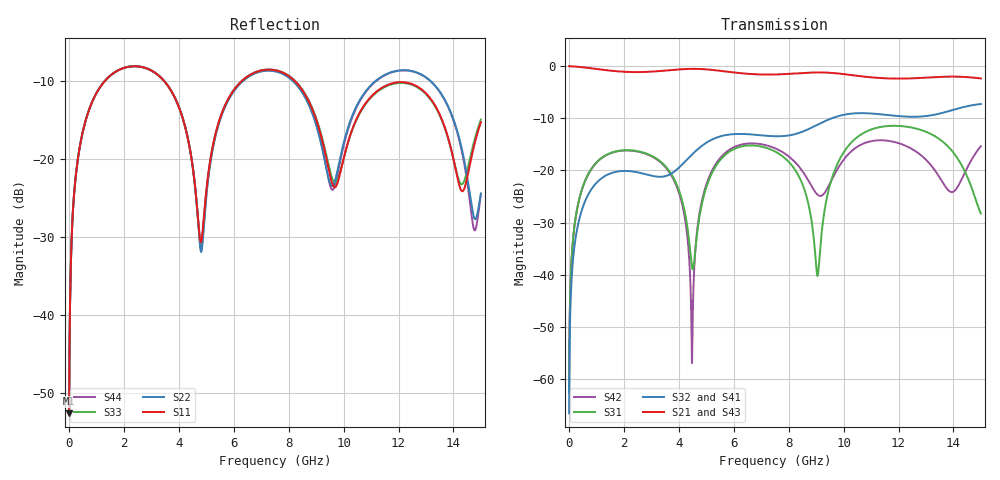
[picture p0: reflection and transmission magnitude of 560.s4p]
! Created with skrf 1.8.0 (http://scikit-rf.org).
# GHz S RI R 50.0
!freq ReS11 ImS11 ReS12 ImS12 ReS13 ImS13
! ReS14 ImS14
! ReS21 ImS21 ReS22 ImS22 ReS23 ImS23
! ReS24 ImS24
! ReS31 ImS31 ReS32 ImS32 ReS33 ImS33
! ReS34 ImS34
! ReS41 ImS41 ReS42 ImS42 ReS43 ImS43
! ReS44 ImS44
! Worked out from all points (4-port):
!   2499 points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, 5 MHz to 15 GHz, reference 50 ohm
!   strongest paths, dB at 5 MHz, 3.476 GHz, 7.19 GHz, 11.1 GHz, 15 GHz:
!     S21: 0.0, -0.9, -1.6, -2.2, -2.4
!     S43: 0.0, -0.9, -1.6, -2.2, -2.4
!     S32: -66.6, -21.1, -13.4, -9.1, -7.3
!     S41: -66.6, -21.2, -13.4, -9.1, -7.3
!     S31: -62.6, -19.0, -15.7, -12.0, -28.3
!     S42: -62.6, -19.2, -15.2, -14.3, -15.3
!   lowest |S11| = -52.6 dB at 5 MHz (marker M1), VSWR 1.00, Z = 50.2 + j0.142 ohm
!   |S11| at or under -10 dB: start of sweep to 1.307 GHz; 3.463 GHz to 6.294 GHz (2.832 GHz wide, 58 % of centre); 8.22 GHz to end of sweep
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0.005  0.00186 0.00142  0.9981 -0.00362  9.4e-05 0.000732  -9.13e-05 -0.00046
       0.9981 -0.00362  0.00186 0.00142  -9.13e-05 -0.00046  9.4e-05 0.000732
       9.4e-05 0.000732  -9.13e-05 -0.00046  0.00186 0.00142  0.9981 -0.00362
       -9.13e-05 -0.00046  9.4e-05 0.000732  0.9981 -0.00362  0.00186 0.00142
0.3126303  0.0298 0.092  0.9591 -0.2242  0.0139 0.0427  -0.0115 -0.0264
           0.9591 -0.2242  0.0298 0.092  -0.0115 -0.0264  0.0137 0.0428
           0.0139 0.0427  -0.0115 -0.0264  0.0298 0.092  0.9591 -0.2242
           -0.0115 -0.0264  0.0137 0.0428  0.9591 -0.2242  0.0299 0.092
1.569404  0.3126 0.1561  0.4485 -0.7809  0.1417 0.0446  -0.0941 0.0105
          0.4485 -0.7809  0.3133 0.1555  -0.0941 0.0106  0.1401 0.0474
          0.1417 0.0446  -0.0941 0.0106  0.3126 0.1561  0.4485 -0.7809
          -0.0941 0.0105  0.1401 0.0474  0.4485 -0.7809  0.3133 0.1554
4.483118  0.0462 -0.0826  -0.8993 -0.276  -0.0111 -0.0038  -0.0377 0.1372
          -0.8993 -0.276  0.043 -0.0857  -0.0369 0.1374  0.00134 0.000522
          -0.0111 -0.0038  -0.0369 0.1374  0.0455 -0.0824  -0.8994 -0.2758
          -0.0377 0.1372  0.00134 0.000522  -0.8994 -0.2758  0.0435 -0.0852
5.627345  0.1399 0.1555  -0.7909 0.4144  0.1017 0.0904  0.1281 0.1732
          -0.7909 0.4144  0.1339 0.1547  0.1293 0.1728  0.1144 0.0845
          0.1017 0.0904  0.1293 0.1728  0.1389 0.1569  -0.7906 0.4146
          0.1281 0.1732  0.1144 0.0845  -0.7906 0.4146  0.1359 0.1547
9.710296  0.0662 0.000597  0.8491 0.0911  0.0414 0.0968  0.0264 -0.3249
          0.8491 0.0911  0.0704 0.0259  0.0217 -0.3247  -0.0251 0.0925
          0.0414 0.0968  0.0217 -0.3247  0.0705 -0.00286  0.849 0.0924
          0.0264 -0.3249  -0.0251 0.0925  0.849 0.0924  0.0665 0.0224
15  0.1066 0.1347  -0.7591 0.0615  -0.0251 0.0293  0.0475 0.4309
    -0.7591 0.0615  0.05 0.0334  0.0564 0.429  0.1651 0.0441
    -0.0251 0.0293  0.0564 0.429  0.1151 0.1371  -0.7584 0.0626
    0.0475 0.4309  0.1651 0.0441  -0.7584 0.0626  0.0449 0.0383
